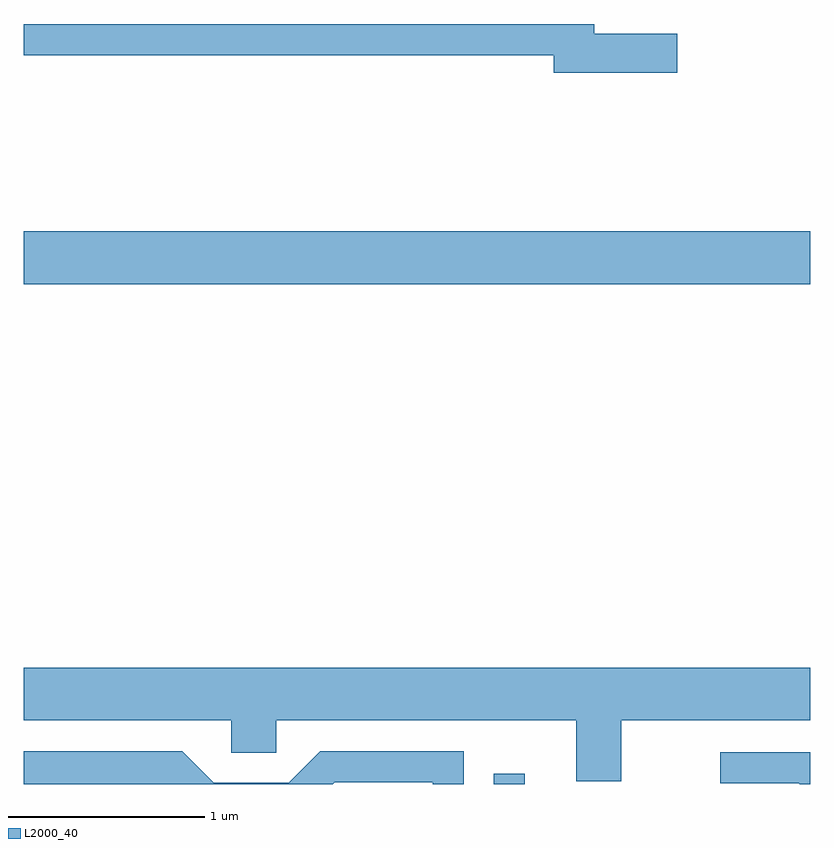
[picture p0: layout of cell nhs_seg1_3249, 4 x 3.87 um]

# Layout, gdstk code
import gdstk
lib = gdstk.Library(unit=1e-6, precision=1e-09)
def R(c, l, rs):  # rectangles x0, y0, x1, y1
    for r in rs: c.add(gdstk.rectangle(r[:2], r[2:], *l))
def P(c, l, *ps):  # polygons
    for p in ps: c.add(gdstk.Polygon(p, *l))
L2000_40 = (2000, 40)

nhs_seg1_3249 = lib.new_cell('nhs_seg1_3249')
R(nhs_seg1_3249, L2000_40, [(286.001,883.712,286.159,883.763), (283.611,886.256,287.611,886.524)])
P(nhs_seg1_3249, L2000_40, [(286.934,887.529),(286.514,887.529),(286.514,887.579),(283.611,887.579),(283.611,887.421),(286.306,887.421),(286.306,887.331),(286.934,887.331)],
  [(286.649,884.036),(287.611,884.036),(287.611,884.304),(283.611,884.304),(283.611,884.036),(284.666,884.036),(284.666,883.871),(284.894,883.871),(284.894,884.036),(286.421,884.036),(286.421,883.726),(286.649,883.726)],
  [(285.192,883.721),(285.691,883.721),(285.691,883.712),(285.849,883.712),(285.849,883.879),(285.119,883.879),(284.959,883.719),(284.577,883.719),(284.417,883.879),(283.611,883.879),(283.611,883.712),(285.183,883.712)],
  [(287.611,883.874),(287.153,883.874),(287.153,883.716),(287.554,883.716),(287.558,883.712),(287.611,883.712)])

lib.write_gds('nhs_seg1_3249.gds')
